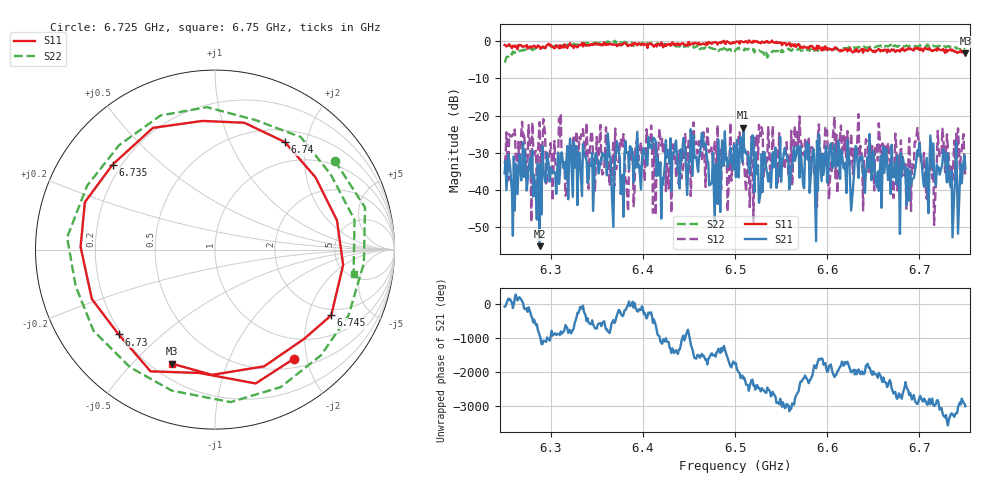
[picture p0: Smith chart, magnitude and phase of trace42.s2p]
# Hz S RI R 50
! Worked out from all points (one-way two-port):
!   401 points, 6.25 GHz to 6.75 GHz, reference 50 ohm
!   highest |S21| = -23.28 dB at 6.509 GHz (marker M1); lowest = -55.0 dB at 6.288 GHz (marker M2)
!   lowest |S11| = -3.4 dB at 6.75 GHz (marker M3), VSWR 5.23, Z = 13.9 - j32.8 ohm
!   |S11| at or under -10 dB: nowhere
!   |S22| runs from -5.8 to 0.0 dB; largest |S21 - S12| = 0.13
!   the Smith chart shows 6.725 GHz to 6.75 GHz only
!   S11 on the Smith chart (normalised r, x): 6.725 GHz: 0.64, -1.78; 6.73 GHz: 0.19, -0.37; 6.735 GHz: 0.17, +0.35; 6.74 GHz: 0.67, +1.64; 6.745 GHz: 1.73, -2.84; 6.75 GHz: 0.28, -0.66
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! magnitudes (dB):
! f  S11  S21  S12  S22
! 6.25 GHz  -1.1  -35.5  -32.9  -5.8
! 6.288 GHz  -1.5  -55.0  -21.8  -2.1
! 6.311 GHz  -1.9  -30.8  -19.5  -1.5
! 6.315 GHz  -0.9  -32.5  -32.5  -1.0
! 6.334 GHz  -0.6  -41.6  -24.1  -0.7
! 6.366 GHz  -1.0  -38.6  -37.4  -0.6
! 6.378 GHz  -1.0  -35.9  -28.3  -0.5
! 6.384 GHz  -1.4  -29.9  -45.8  -0.4
! 6.406 GHz  -0.8  -25.8  -28.2  -0.8
! 6.411 GHz  -1.2  -26.1  -46.1  -0.7
! 6.418 GHz  -0.9  -36.1  -23.5  -1.1
! 6.429 GHz  -0.8  -33.0  -33.3  -1.1
! 6.5 GHz  -0.5  -30.8  -27.9  -2.8
! 6.509 GHz  -0.3  -23.3  -33.2  -2.1
! 6.584 GHz  -1.4  -30.4  -28.5  -1.9
! 6.668 GHz  -2.9  -33.2  -31.6  -1.2
! 6.725 GHz  -2.5  -32.9  -23.5  -1.6
! 6.73 GHz  -2.9  -37.9  -25.0  -1.6
! 6.735 GHz  -2.6  -34.8  -33.7  -1.8
! 6.74 GHz  -2.9  -27.0  -24.9  -2.0
! 6.745 GHz  -2.6  -32.9  -30.9  -2.4
! 6.75 GHz  -3.4  -34.2  -36.1  -2.1
